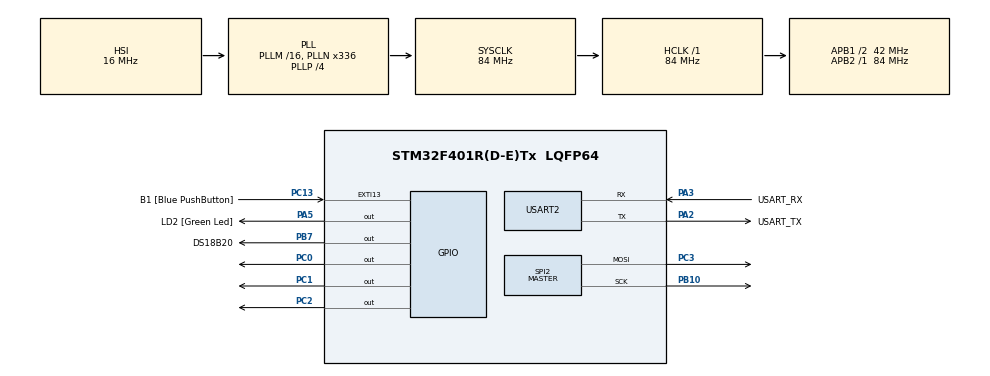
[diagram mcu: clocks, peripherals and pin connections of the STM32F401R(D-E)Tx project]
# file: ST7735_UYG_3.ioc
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ADC1.Channel-0\#ChannelRegularConversion=ADC_CHANNEL_TEMPSENSOR
ADC1.NbrOfConversionFlag=1
ADC1.Rank-0\#ChannelRegularConversion=1
ADC1.SamplingTime-0\#ChannelRegularConversion=ADC_SAMPLETIME_3CYCLES
ADC1.master=1
Mcu.Family=STM32F4
Mcu.Name=STM32F401R(D-E)Tx
Mcu.Package=LQFP64
NVIC.PriorityGroup=NVIC_PRIORITYGROUP_0
PA13.GPIO_Label=TMS
PA13.Mode=Serial_Wire
PA13.Signal=SYS_JTMS-SWDIO
PA14.GPIO_Label=TCK
PA14.Mode=Serial_Wire
PA14.Signal=SYS_JTCK-SWCLK
PA2.GPIO_Label=USART_TX
PA2.GPIO_Mode=GPIO_MODE_AF_PP
PA2.GPIO_PuPd=GPIO_NOPULL
PA2.GPIO_Speed=GPIO_SPEED_FREQ_LOW
PA2.Mode=Asynchronous
PA2.Signal=USART2_TX
PA3.GPIO_Label=USART_RX
PA3.GPIO_Mode=GPIO_MODE_AF_PP
PA3.GPIO_PuPd=GPIO_NOPULL
PA3.GPIO_Speed=GPIO_SPEED_FREQ_LOW
PA3.Mode=Asynchronous
PA3.Signal=USART2_RX
PA5.GPIO_Label=LD2 [Green Led]
PA5.GPIO_Mode=GPIO_MODE_OUTPUT_PP
PA5.GPIO_PuPd=GPIO_NOPULL
PA5.GPIO_Speed=GPIO_SPEED_FREQ_LOW
PA5.Signal=GPIO_Output
PB10.Mode=TX_Only_Simplex_Unidirect_Master
PB10.Signal=SPI2_SCK
PB3.GPIO_Label=SWO
PB3.Signal=SYS_JTDO-SWO
PB7.GPIO_Label=DS18B20
PB7.GPIO_PuPd=GPIO_PULLUP
PB7.Signal=GPIO_Output
PC0.Signal=GPIO_Output
PC1.Signal=GPIO_Output
PC13-ANTI_TAMP.GPIO_Label=B1 [Blue PushButton]
PC13-ANTI_TAMP.GPIO_ModeDefaultEXTI=GPIO_MODE_IT_FALLING
PC13-ANTI_TAMP.GPIO_PuPd=GPIO_NOPULL
PC13-ANTI_TAMP.Signal=GPXTI13
PC14-OSC32_IN.Mode=LSE-External-Oscillator
PC14-OSC32_IN.Signal=RCC_OSC32_IN
PC15-OSC32_OUT.Mode=LSE-External-Oscillator
PC15-OSC32_OUT.Signal=RCC_OSC32_OUT
PC2.Signal=GPIO_Output
PC3.Mode=TX_Only_Simplex_Unidirect_Master
PC3.Signal=SPI2_MOSI
PH0\ -\ OSC_IN.Mode=HSE-External-Clock-Source
PH0\ -\ OSC_IN.Signal=RCC_OSC_IN
PH1\ -\ OSC_OUT.Mode=HSE-External-Clock-Source
PH1\ -\ OSC_OUT.Signal=RCC_OSC_OUT
ProjectManager.HeapSize=0x200
ProjectManager.StackSize=0x400
ProjectManager.TargetToolchain=TrueSTUDIO
RCC.48MHZClocksFreq_Value=48000000
RCC.AHBFreq_Value=84000000
RCC.APB1CLKDivider=RCC_HCLK_DIV2
RCC.APB1Freq_Value=42000000
RCC.APB1TimFreq_Value=84000000
RCC.APB2Freq_Value=84000000
RCC.APB2TimFreq_Value=84000000
RCC.CortexFreq_Value=84000000
RCC.HCLKFreq_Value=84000000
RCC.HSE_VALUE=8000000
RCC.HSI_VALUE=16000000
RCC.PLLN=336
RCC.PLLP=RCC_PLLP_DIV4
RCC.PLLQ=7
RCC.RCC_RTC_Clock_Source=RCC_RTCCLKSOURCE_LSE
RCC.RCC_RTC_Clock_SourceVirtual=RCC_RTCCLKSOURCE_LSE
RCC.SYSCLKFreq_VALUE=84000000
RCC.SYSCLKSource=RCC_SYSCLKSOURCE_PLLCLK
RCC.VCOOutputFreq_Value=336000000
RTC.Date=13
RTC.Format=RTC_FORMAT_BIN
RTC.Hours=12
RTC.Month=RTC_MONTH_JUNE
RTC.WeekDay=RTC_WEEKDAY_WEDNESDAY
RTC.Year=18
SPI2.CLKPolarity=SPI_POLARITY_HIGH
SPI2.Direction=SPI_DIRECTION_2LINES
SPI2.Mode=SPI_MODE_MASTER
SPI2.VirtualType=VM_MASTER
USART2.VirtualMode=VM_ASYNC
VP_ADC1_TempSens_Input.Mode=IN-TempSens
VP_RTC_VS_RTC_Activate.Mode=RTC_Enabled
VP_RTC_VS_RTC_Calendar.Mode=RTC_Calendar
board=NUCLEO-F401RE

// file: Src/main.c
/**
  ******************************************************************************
  * @file           : main.c
  * @brief          : Main program body
  ******************************************************************************
  ** This notice applies to any and all portions of this file
  * that are not between comment pairs USER CODE BEGIN and
  * USER CODE END. Other portions of this file, whether
  * inserted by the user or by software development tools
  * are owned by their respective copyright owners.
  *
  * COPYRIGHT(c) 2018 STMicroelectronics
  *
  * Redistribution and use in source and binary forms, with or without modification,
  * are permitted provided that the following conditions are met:
  *   1. Redistributions of source code must retain the above copyright notice,
  *      this list of conditions and the following disclaimer.
  *   2. Redistributions in binary form must reproduce the above copyright notice,
  *      this list of conditions and the following disclaimer in the documentation
  *      and/or other materials provided with the distribution.
  *   3. Neither the name of STMicroelectronics nor the names of its contributors
  *      may be used to endorse or promote products derived from this software
  *      without specific prior written permission.
  *
  * THIS SOFTWARE IS PROVIDED BY THE COPYRIGHT HOLDERS AND CONTRIBUTORS "AS IS"
  * AND ANY EXPRESS OR IMPLIED WARRANTIES, INCLUDING, BUT NOT LIMITED TO, THE
  * IMPLIED WARRANTIES OF MERCHANTABILITY AND FITNESS FOR A PARTICULAR PURPOSE ARE
  * DISCLAIMED. IN NO EVENT SHALL THE COPYRIGHT HOLDER OR CONTRIBUTORS BE LIABLE
  * FOR ANY DIRECT, INDIRECT, INCIDENTAL, SPECIAL, EXEMPLARY, OR CONSEQUENTIAL
  * DAMAGES (INCLUDING, BUT NOT LIMITED TO, PROCUREMENT OF SUBSTITUTE GOODS OR
  * SERVICES; LOSS OF USE, DATA, OR PROFITS; OR BUSINESS INTERRUPTION) HOWEVER
  * CAUSED AND ON ANY THEORY OF LIABILITY, WHETHER IN CONTRACT, STRICT LIABILITY,
  * OR TORT (INCLUDING NEGLIGENCE OR OTHERWISE) ARISING IN ANY WAY OUT OF THE USE
  * OF THIS SOFTWARE, EVEN IF ADVISED OF THE POSSIBILITY OF SUCH DAMAGE.
  *
  ******************************************************************************
  */
#include "main.h"
#include "stm32f4xx_hal.h"

/* USER CODE BEGIN Includes */

#include <stdio.h>
#include <string.h>
#include <math.h>

#include "clock.h"
#include "ds18b20_mflib.h"
#include "st7735.h"
#include "fonts.h"
#include "testimg.h"

/* USER CODE END Includes */

ADC_HandleTypeDef hadc1;

RTC_HandleTypeDef hrtc;

SPI_HandleTypeDef hspi2;

UART_HandleTypeDef huart2;

/* USER CODE BEGIN PV */
/* Private variables ---------------------------------------------------------*/

uint32_t time_us;
float temp=0;

/* USER CODE END PV */

void SystemClock_Config(void);
static void MX_GPIO_Init(void);
static void MX_USART2_UART_Init(void);
static void MX_SPI2_Init(void);
static void MX_RTC_Init(void);
static void MX_ADC1_Init(void);

/* USER CODE BEGIN PFP */
/* Private function prototypes -----------------------------------------------*/
#define Prgver		"1.5"

#define LED        	GPIOA, GPIO_PIN_5// board led
#define LED_high	HAL_GPIO_WritePin(LED, GPIO_PIN_SET);
#define LED_low		HAL_GPIO_WritePin(LED, GPIO_PIN_RESET);

#define TEMP_SENSOR_AVG_SLOPE_MV_PER_CELSIUS                        2.5f
#define TEMP_SENSOR_VOLTAGE_MV_AT_25                                760.0f
#define ADC_REFERENCE_VOLTAGE_MV                                    1210.0f
#define ADC_MAX_OUTPUT_VALUE                                        4095.0f

#define ADCMAXVALUE                                        4095.0f

uint8_t Hour;
uint8_t Sec=0;
uint8_t Min;
uint8_t Year;
uint8_t Month;
uint8_t Date;
uint8_t Weekday;
uint8_t	selection;
uint8_t select_zone;

char strtxt[50];

uint8_t strMonth[][12] = {"Ock", "Sub", "Mrt", "Nis", "May", "Haz", "Tem", "Aug", "Ely", "Ekm", "Ksm", "Arl"};
//uint8_t strMonth[][12] = {"Jan", "Feb", "Mar", "Apr", "May", "Jun", "Jul", "Aug", "Sep", "Oct", "Nov", "Dec"};
//uint8_t strWeekday[][7] = {"Mon", "Tue", "Wed", "Thu", "Fri", "Sat", "Sun"};
uint8_t strWeekday[][7] = {"Pzt", "Sal", "Car", "Per", "Cum", "Cmt", "Pzr"};

RTC_TimeTypeDef RTC_Time;
RTC_DateTypeDef RTC_Date;

uint32_t adcResult=0;
float temperature;
float voltage;

/* USER CODE END PFP */

int main(void)
 {

  /* MCU Configuration----------------------------------------------------------*/

  /* Reset of all peripherals, Initializes the Flash interface and the Systick. */
  HAL_Init();

  /* Configure the system clock */
  SystemClock_Config();

  /* Initialize all configured peripherals */
  MX_GPIO_Init();
  MX_USART2_UART_Init();
  MX_SPI2_Init();
  MX_RTC_Init();
  MX_ADC1_Init();
  /* USER CODE BEGIN 2 */

/*
  RTC_Time.Hours = 07;
  RTC_Time.Minutes = 38;
  RTC_Time.Seconds = 0;
  HAL_RTC_SetTime(&hrtc,&RTC_Time,RTC_FORMAT_BIN);

  RTC_Date.Date = 20;
  RTC_Date.Month = 6;
  RTC_Date.WeekDay = 3;
  RTC_Date.Year = 18;
  HAL_RTC_SetDate(&hrtc,&RTC_Date,RTC_FORMAT_BIN);
*/

  ST7735_Init();

  ST7735_FillScreen(ST7735_BLACK);
  ST7735_WriteString(5, 5, "STM32F401 Saat", Font_7x10, ST7735_WHITE, ST7735_BLACK);
  HAL_Delay(250);
  ST7735_WriteString(5, 15, "uygulamasi", Font_7x10, ST7735_WHITE, ST7735_BLACK);
  HAL_Delay(250);
  ST7735_WriteString(5, 25, "aciliyor..", Font_7x10, ST7735_WHITE, ST7735_BLACK);
  HAL_Delay(250);
  sprintf(strtxt,"Prg Ver:%s",Prgver);
  ST7735_WriteString(5, 35, strtxt, Font_7x10, ST7735_WHITE, ST7735_BLACK);
  HAL_Delay(3000);

  ST7735_FillScreen(ST7735_WHITE);
  ST7735_DrawImage(0,0,128,128,win10_logo);

  uint8_t scr = 0;
  uint8_t yzd = 0;
  for (scr=0;scr<128;scr++)
  {
	  yzd = ((scr * 100)/128);
	  ST7735_line_v(128,148,scr,1,ST7735_RED);
	  sprintf(strtxt,"Loading:%03d",yzd+1);
	  ST7735_WriteString(30, 150, strtxt, Font_7x10, ST7735_BLUE, ST7735_WHITE);
	  HAL_Delay(10);
  }

  HAL_Delay(2000);
  ST7735_FillScreen(ST7735_WHITE);
  ST7735_WriteString(0, 150, "www.digitalRuh.com", Font_7x10, ST7735_COLOR565(0,0,255), ST7735_WHITE);

  /* USER CODE END 2 */

  /* Infinite loop */
  while (1)
  {

  /* USER CODE BEGIN 3 */

	  HAL_RTC_GetTime(&hrtc,&RTC_Time,RTC_FORMAT_BIN);
	  HAL_RTC_GetDate(&hrtc,&RTC_Date,RTC_FORMAT_BIN);

	  if(Sec!=RTC_Time.Seconds)
	  {
		  Hour = RTC_Time.Hours;
		  Min = RTC_Time.Minutes;
		  Sec = RTC_Time.Seconds;
		  Date = RTC_Date.Date;
		  Month = RTC_Date.Month;
		  Year = RTC_Date.Year;
		  Weekday = RTC_Date.WeekDay;

		  ST7735_DrawImage(14,0,100,100,clockface_100_100);
		  Draw_clock(Hour,Min,Sec,ST7735_BLACK,ST7735_BLUE,ST7735_RED);

		  sprintf(strtxt,"%s",strWeekday[Weekday-1]);
		  ST7735_WriteString(2, 85, strtxt, Font_7x10, ST7735_MAGENTA, ST7735_WHITE);
		  sprintf(strtxt,"%s",strMonth[Month-1]);
		  ST7735_WriteString(104, 85, strtxt, Font_7x10, ST7735_MAGENTA, ST7735_WHITE);

		  sprintf(strtxt,"%02d:%02d:%02d",Hour,Min,Sec);
		  ST7735_WriteString(20, 100, strtxt, Font_11x18, ST7735_BLUE, ST7735_WHITE);
		  sprintf(strtxt,"%02d/%02d/%02d",Date,Month,Year);
		  ST7735_WriteString(20, 120, strtxt, Font_11x18, ST7735_RED, ST7735_WHITE);

		  //DS18b20 temp
		  ds18b20_init_seq();
		  ds18b20_send_rom_cmd(SKIP_ROM_CMD_BYTE);
		  ds18b20_send_function_cmd(CONVERT_T_CMD);
		  DelayMicro(100);
		  ds18b20_init_seq();
		  ds18b20_send_rom_cmd(SKIP_ROM_CMD_BYTE);
		  ds18b20_send_function_cmd(READ_SCRATCHPAD_CMD);
		  temp = ds18b20_read_temp();

		  //ADC int TEMP
		  if (HAL_ADC_Start(&hadc1) != HAL_OK)
		  {
			  //* Start Conversation Error */
			  // Error_Handler();
		  }
		  if (HAL_ADC_PollForConversion(&hadc1, 500) != HAL_OK)
		  {
			  //* End Of Conversion flag not set on time */
			  // Error_Handler();
			  adcResult=-1;
		  }
		  else
		  {
			  //* ADC conversion completed */
			  //*##-5- Get the converted value of regular channel ########################*/
			  adcResult = HAL_ADC_GetValue(&hadc1);
		  }
		  HAL_ADC_Stop(&hadc1);
		  temperature = 25.0f+(3.3f*(float)adcResult/(float)ADCMAXVALUE-0.76f)/0.0025f;
		  sprintf((char*)strtxt,"CPU:%2.0f  OUT:%4.2f",temperature,temp); //%4.2f*C
		  ST7735_WriteString(5, 140, strtxt, Font_7x10, ST7735_BLACK, ST7735_WHITE);

		  //led toogle
		  HAL_GPIO_TogglePin(LED);
	  }

  }
  /* USER CODE END 3 */

}

void SystemClock_Config(void)
{

  RCC_OscInitTypeDef RCC_OscInitStruct;
  RCC_ClkInitTypeDef RCC_ClkInitStruct;
  RCC_PeriphCLKInitTypeDef PeriphClkInitStruct;

    /**Configure the main internal regulator output voltage
    */
  __HAL_RCC_PWR_CLK_ENABLE();

  __HAL_PWR_VOLTAGESCALING_CONFIG(PWR_REGULATOR_VOLTAGE_SCALE2);

    /**Initializes the CPU, AHB and APB busses clocks
    */
  RCC_OscInitStruct.OscillatorType = RCC_OSCILLATORTYPE_HSI|RCC_OSCILLATORTYPE_LSE;
  RCC_OscInitStruct.LSEState = RCC_LSE_ON;
  RCC_OscInitStruct.HSIState = RCC_HSI_ON;
  RCC_OscInitStruct.HSICalibrationValue = 16;
  RCC_OscInitStruct.PLL.PLLState = RCC_PLL_ON;
  RCC_OscInitStruct.PLL.PLLSource = RCC_PLLSOURCE_HSI;
  RCC_OscInitStruct.PLL.PLLM = 16;
  RCC_OscInitStruct.PLL.PLLN = 336;
  RCC_OscInitStruct.PLL.PLLP = RCC_PLLP_DIV4;
  RCC_OscInitStruct.PLL.PLLQ = 7;
  if (HAL_RCC_OscConfig(&RCC_OscInitStruct) != HAL_OK)
  {
    _Error_Handler(__FILE__, __LINE__);
  }

    /**Initializes the CPU, AHB and APB busses clocks
    */
  RCC_ClkInitStruct.ClockType = RCC_CLOCKTYPE_HCLK|RCC_CLOCKTYPE_SYSCLK
                              |RCC_CLOCKTYPE_PCLK1|RCC_CLOCKTYPE_PCLK2;
  RCC_ClkInitStruct.SYSCLKSource = RCC_SYSCLKSOURCE_PLLCLK;
  RCC_ClkInitStruct.AHBCLKDivider = RCC_SYSCLK_DIV1;
  RCC_ClkInitStruct.APB1CLKDivider = RCC_HCLK_DIV2;
  RCC_ClkInitStruct.APB2CLKDivider = RCC_HCLK_DIV1;

  if (HAL_RCC_ClockConfig(&RCC_ClkInitStruct, FLASH_LATENCY_2) != HAL_OK)
  {
    _Error_Handler(__FILE__, __LINE__);
  }

  PeriphClkInitStruct.PeriphClockSelection = RCC_PERIPHCLK_RTC;
  PeriphClkInitStruct.RTCClockSelection = RCC_RTCCLKSOURCE_LSE;
  if (HAL_RCCEx_PeriphCLKConfig(&PeriphClkInitStruct) != HAL_OK)
  {
    _Error_Handler(__FILE__, __LINE__);
  }

    /**Configure the Systick interrupt time
    */
  HAL_SYSTICK_Config(HAL_RCC_GetHCLKFreq()/1000);

    /**Configure the Systick
    */
  HAL_SYSTICK_CLKSourceConfig(SYSTICK_CLKSOURCE_HCLK);

  /* SysTick_IRQn interrupt configuration */
  HAL_NVIC_SetPriority(SysTick_IRQn, 0, 0);
}

/* ADC1 init function */
static void MX_ADC1_Init(void)
{

  ADC_ChannelConfTypeDef sConfig;

    /**Configure the global features of the ADC (Clock, Resolution, Data Alignment and number of conversion)
    */
  hadc1.Instance = ADC1;
  hadc1.Init.ClockPrescaler = ADC_CLOCK_SYNC_PCLK_DIV4;
  hadc1.Init.Resolution = ADC_RESOLUTION_12B;
  hadc1.Init.ScanConvMode = DISABLE;
  hadc1.Init.ContinuousConvMode = DISABLE;
  hadc1.Init.DiscontinuousConvMode = DISABLE;
  hadc1.Init.ExternalTrigConvEdge = ADC_EXTERNALTRIGCONVEDGE_NONE;
  hadc1.Init.ExternalTrigConv = ADC_SOFTWARE_START;
  hadc1.Init.DataAlign = ADC_DATAALIGN_RIGHT;
  hadc1.Init.NbrOfConversion = 1;
  hadc1.Init.DMAContinuousRequests = DISABLE;
  hadc1.Init.EOCSelection = ADC_EOC_SINGLE_CONV;
  if (HAL_ADC_Init(&hadc1) != HAL_OK)
  {
    _Error_Handler(__FILE__, __LINE__);
  }

    /**Configure for the selected ADC regular channel its corresponding rank in the sequencer and its sample time.
    */
  sConfig.Channel = ADC_CHANNEL_TEMPSENSOR;
  sConfig.Rank = 1;
  sConfig.SamplingTime = ADC_SAMPLETIME_3CYCLES;
  if (HAL_ADC_ConfigChannel(&hadc1, &sConfig) != HAL_OK)
  {
    _Error_Handler(__FILE__, __LINE__);
  }

}

/* RTC init function */
static void MX_RTC_Init(void)
{

  RTC_TimeTypeDef sTime;
  RTC_DateTypeDef sDate;

    /**Initialize RTC Only
    */
  hrtc.Instance = RTC;
if(HAL_RTCEx_BKUPRead(&hrtc, RTC_BKP_DR0) != 0x32F2){
  hrtc.Init.HourFormat = RTC_HOURFORMAT_24;
  hrtc.Init.AsynchPrediv = 127;
  hrtc.Init.SynchPrediv = 255;
  hrtc.Init.OutPut = RTC_OUTPUT_DISABLE;
  hrtc.Init.OutPutPolarity = RTC_OUTPUT_POLARITY_HIGH;
  hrtc.Init.OutPutType = RTC_OUTPUT_TYPE_OPENDRAIN;
  if (HAL_RTC_Init(&hrtc) != HAL_OK)
  {
    _Error_Handler(__FILE__, __LINE__);
  }

    /**Initialize RTC and set the Time and Date
    */
  sTime.Hours = 12;
  sTime.Minutes = 0;
  sTime.Seconds = 0;
  sTime.DayLightSaving = RTC_DAYLIGHTSAVING_NONE;
  sTime.StoreOperation = RTC_STOREOPERATION_RESET;
  if (HAL_RTC_SetTime(&hrtc, &sTime, RTC_FORMAT_BIN) != HAL_OK)
  {
    _Error_Handler(__FILE__, __LINE__);
  }

  sDate.WeekDay = RTC_WEEKDAY_WEDNESDAY;
  sDate.Month = RTC_MONTH_JUNE;
  sDate.Date = 13;
  sDate.Year = 18;

  if (HAL_RTC_SetDate(&hrtc, &sDate, RTC_FORMAT_BIN) != HAL_OK)
  {
    _Error_Handler(__FILE__, __LINE__);
  }

    HAL_RTCEx_BKUPWrite(&hrtc,RTC_BKP_DR0,0x32F2);
  }

}

/* SPI2 init function */
static void MX_SPI2_Init(void)
{

  /* SPI2 parameter configuration*/
  hspi2.Instance = SPI2;
  hspi2.Init.Mode = SPI_MODE_MASTER;
  hspi2.Init.Direction = SPI_DIRECTION_2LINES;
  hspi2.Init.DataSize = SPI_DATASIZE_8BIT;
  hspi2.Init.CLKPolarity = SPI_POLARITY_HIGH;
  hspi2.Init.CLKPhase = SPI_PHASE_1EDGE;
  hspi2.Init.NSS = SPI_NSS_SOFT;
  hspi2.Init.BaudRatePrescaler = SPI_BAUDRATEPRESCALER_2;
  hspi2.Init.FirstBit = SPI_FIRSTBIT_MSB;
  hspi2.Init.TIMode = SPI_TIMODE_DISABLE;
  hspi2.Init.CRCCalculation = SPI_CRCCALCULATION_DISABLE;
  hspi2.Init.CRCPolynomial = 10;
  if (HAL_SPI_Init(&hspi2) != HAL_OK)
  {
    _Error_Handler(__FILE__, __LINE__);
  }

}

/* USART2 init function */
static void MX_USART2_UART_Init(void)
{

  huart2.Instance = USART2;
  huart2.Init.BaudRate = 115200;
  huart2.Init.WordLength = UART_WORDLENGTH_8B;
  huart2.Init.StopBits = UART_STOPBITS_1;
  huart2.Init.Parity = UART_PARITY_NONE;
  huart2.Init.Mode = UART_MODE_TX_RX;
  huart2.Init.HwFlowCtl = UART_HWCONTROL_NONE;
  huart2.Init.OverSampling = UART_OVERSAMPLING_16;
  if (HAL_UART_Init(&huart2) != HAL_OK)
  {
    _Error_Handler(__FILE__, __LINE__);
  }

}

/** Configure pins as
        * Analog
        * Input
        * Output
        * EVENT_OUT
        * EXTI
*/
static void MX_GPIO_Init(void)
{

  GPIO_InitTypeDef GPIO_InitStruct;

  /* GPIO Ports Clock Enable */
  __HAL_RCC_GPIOC_CLK_ENABLE();
  __HAL_RCC_GPIOH_CLK_ENABLE();
  __HAL_RCC_GPIOA_CLK_ENABLE();
  __HAL_RCC_GPIOB_CLK_ENABLE();

  /*Configure GPIO pin Output Level */
  HAL_GPIO_WritePin(GPIOC, GPIO_PIN_0|GPIO_PIN_1|GPIO_PIN_2, GPIO_PIN_RESET);

  /*Configure GPIO pin Output Level */
  HAL_GPIO_WritePin(LD2_GPIO_Port, LD2_Pin, GPIO_PIN_RESET);

  /*Configure GPIO pin Output Level */
  HAL_GPIO_WritePin(DS18B20_GPIO_Port, DS18B20_Pin, GPIO_PIN_RESET);

  /*Configure GPIO pin : B1_Pin */
  GPIO_InitStruct.Pin = B1_Pin;
  GPIO_InitStruct.Mode = GPIO_MODE_IT_FALLING;
  GPIO_InitStruct.Pull = GPIO_NOPULL;
  HAL_GPIO_Init(B1_GPIO_Port, &GPIO_InitStruct);

  /*Configure GPIO pins : PC0 PC1 PC2 */
  GPIO_InitStruct.Pin = GPIO_PIN_0|GPIO_PIN_1|GPIO_PIN_2;
  GPIO_InitStruct.Mode = GPIO_MODE_OUTPUT_PP;
  GPIO_InitStruct.Pull = GPIO_NOPULL;
  GPIO_InitStruct.Speed = GPIO_SPEED_FREQ_LOW;
  HAL_GPIO_Init(GPIOC, &GPIO_InitStruct);

  /*Configure GPIO pin : LD2_Pin */
  GPIO_InitStruct.Pin = LD2_Pin;
  GPIO_InitStruct.Mode = GPIO_MODE_OUTPUT_PP;
  GPIO_InitStruct.Pull = GPIO_NOPULL;
  GPIO_InitStruct.Speed = GPIO_SPEED_FREQ_LOW;
  HAL_GPIO_Init(LD2_GPIO_Port, &GPIO_InitStruct);

  /*Configure GPIO pin : DS18B20_Pin */
  GPIO_InitStruct.Pin = DS18B20_Pin;
  GPIO_InitStruct.Mode = GPIO_MODE_OUTPUT_PP;
  GPIO_InitStruct.Pull = GPIO_PULLUP;
  GPIO_InitStruct.Speed = GPIO_SPEED_FREQ_LOW;
  HAL_GPIO_Init(DS18B20_GPIO_Port, &GPIO_InitStruct);

}

void _Error_Handler(char *file, int line)
{
  while(1)
  {
  }
}

/************************ (C) COPYRIGHT STMicroelectronics *****END OF FILE****/
